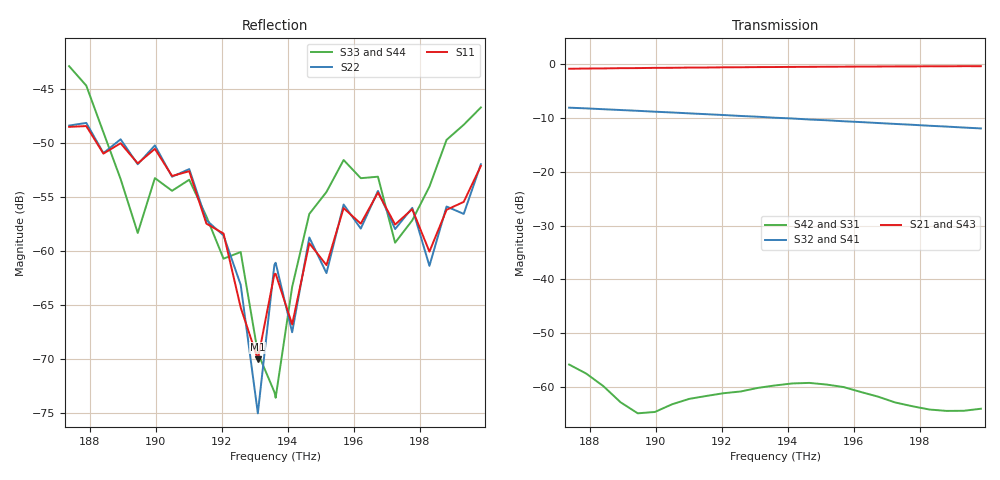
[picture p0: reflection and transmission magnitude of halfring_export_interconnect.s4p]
! Ansys Lumerical
! Created: seg ago 22 16:59:36 2022
! Project File: /home/moises/Documentos/GitHub/Ring-Resonator/Ring-Resonator/halfring_straight.fsp
! Touchstone File Format: Version 1.0
! Two-Port Data Order: 21_12
# HZ S MA R 50.00
! Optical Port List
! Port[0] = {"port 1","mode 1",1,"LEFT"}
! Port[1] = {"port 2","mode 1",1,"RIGHT"}
! Port[2] = {"port 3","mode 1",1,"BOTTOM"}
! Port[3] = {"port 4","mode 1",1,"BOTTOM"}
! FREQ  AMP  PHASE  AMP  PHASE  AMP  PHASE  AMP  PHASE
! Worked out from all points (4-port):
!   27 points, 187.4 THz to 199.9 THz, reference 50 ohm
!   strongest paths, dB at 187.4 THz, 190.5 THz, 193.6 THz, 196.7 THz, 199.9 THz:
!     S21: -0.8, -0.6, -0.5, -0.4, -0.3
!     S43: -1.0, -0.8, -0.6, -0.5, -0.4
!     S32: -8.0, -8.9, -9.9, -10.9, -11.9
!     S41: -8.0, -8.9, -9.9, -10.9, -11.9
!     S42: -55.9, -63.3, -59.8, -61.8, -64.1
!     S31: -55.8, -63.5, -59.8, -61.9, -64.1
!   lowest |S11| = -70.0 dB at 193.1 THz (marker M1), VSWR 1.00, Z = 50 - j0.0294 ohm
!   |S11| at or under -10 dB: start of sweep to end of sweep
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1.873703e14  0.00376 178.2  0.9119 -33.0  0.001545 -145.5  0.3968 -37.3
             0.9118 -33.0  0.003812 -179.6  0.3968 142.7  0.001517 33.8
             0.001627 -151.0  0.3961 142.7  0.007178 -146.3  0.8908 -41.5
             0.396 -37.3  0.00161 28.4  0.8908 -41.5  0.007193 -146.6
1.899727e14  0.002975 176.2  0.9301 72.1  0.0005038 -99.8  0.364 86.2
             0.9301 72.0  0.003087 -186.6  0.364 266.2  0.000513 77.6
             0.0005648 -109.6  0.3634 266.2  0.002178 -168.9  0.9151 100.5
             0.3634 86.2  0.0005826 68.4  0.9151 100.5  0.002172 -168.1
1.930955e14  0.000316 291.7  0.945 198.7  0.001033 59.3  0.3267 235.2
             0.945 198.7  0.0001777 -80.0  0.3267 415.2  0.001037 238.4
             0.0009722 57.3  0.3262 415.2  0.0003382 78.1  0.9341 271.7
             0.3262 235.2  0.0009757 236.3  0.9341 271.7  0.0003595 79.4
1.946569e14  0.001088 374.1  0.9506 262.3  0.001145 146.4  0.3077 309.9
             0.9505 262.3  0.001157 7.4  0.3077 489.9  0.001146 325.8
             0.001085 147.4  0.3073 489.9  0.001487 -41.0  0.9409 357.6
             0.3073 309.9  0.001086 326.7  0.9409 357.6  0.001473 -41.5
1.962183e14  0.001341 379.2  0.9559 325.9  0.0009382 211.9  0.2912 384.7
             0.956 325.9  0.001272 25.4  0.2912 564.6  0.0009397 391.3
             0.0008919 214.7  0.2908 564.7  0.002176 13.1  0.9481 443.7
             0.2908 384.7  0.0008942 394.0  0.9481 443.7  0.002171 12.7
1.977797e14  0.001565 387.0  0.9594 389.5  0.0006925 259.3  0.2748 459.7
             0.9593 389.5  0.001586 22.9  0.2748 639.7  0.000697 438.8
             0.000655 264.2  0.2745 639.7  0.001389 -8.7  0.9515 529.8
             0.2745 459.7  0.000659 443.3  0.9515 529.8  0.0014 -8.7
1.998616e14  0.00248 348.7  0.9635 474.6  0.0005928 357.5  0.254 559.6
             0.9634 474.6  0.002525 -12.8  0.254 739.6  0.0005951 537.3
             0.0006268 364.2  0.2538 739.6  0.004623 -0.5  0.9572 644.8
             0.2538 559.6  0.0006241 543.9  0.9572 644.8  0.004619 -0.4
